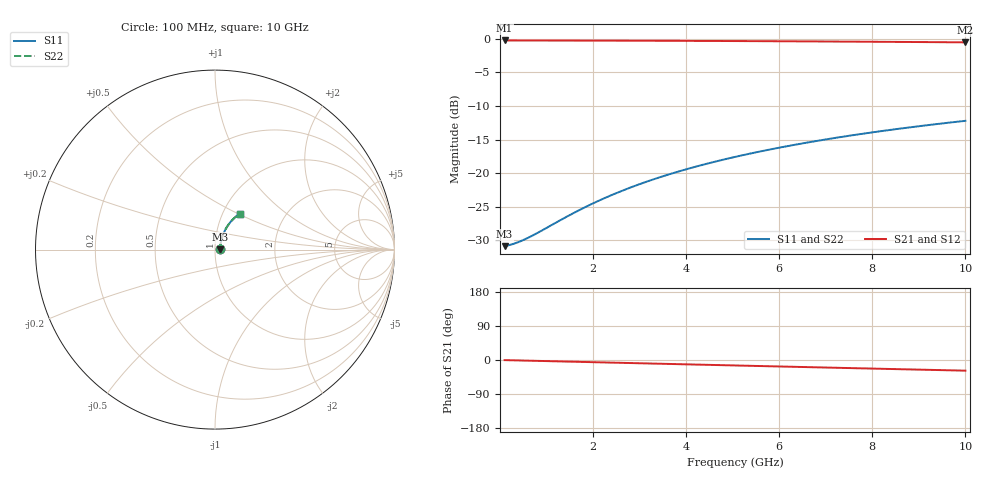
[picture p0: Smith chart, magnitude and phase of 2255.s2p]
# Hz S RI R 50.00
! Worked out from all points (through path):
!   100 points, 100 MHz to 10 GHz, reference 50 ohm
!   highest |S21| = -0.25 dB at 100 MHz (marker M1); lowest = -0.5 dB at 10 GHz (marker M2)
!   group delay of S21, straight-line fit = 7.82 ps
!   lowest |S11| = -30.9 dB at 100 MHz (marker M3), VSWR 1.06, Z = 52.9 + j0.26 ohm
!   |S11| at or under -10 dB: start of sweep to end of sweep
!   |S22| runs from -30.9 to -12.2 dB; largest |S21 - S12| = 0
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1e8  0.0285 0.00245  0.9715 -0.00487  0.9715 -0.00487  0.0285 0.00245
2e8  0.0288 0.0049  0.9712 -0.00974  0.9712 -0.00974  0.0288 0.0049
3e8  0.0289 0.00735  0.971 -0.0146  0.971 -0.0146  0.0289 0.00735
4e8  0.0291 0.00979  0.9708 -0.0195  0.9708 -0.0195  0.0291 0.00979
6e8  0.0296 0.0147  0.9703 -0.0292  0.9703 -0.0292  0.0296 0.0147
8e8  0.03 0.0195  0.9697 -0.0389  0.9697 -0.0389  0.03 0.0195
1.5e9  0.0324 0.0365  0.9669 -0.0728  0.9669 -0.0728  0.0324 0.0365
1.8e9  0.0337 0.0437  0.9653 -0.0872  0.9653 -0.0872  0.0337 0.0437
2.2e9  0.0358 0.0532  0.9627 -0.1064  0.9627 -0.1064  0.0358 0.0532
2.6e9  0.0383 0.0626  0.9597 -0.1255  0.9597 -0.1255  0.0383 0.0626
3e9  0.0411 0.0719  0.9562 -0.1445  0.9562 -0.1445  0.0411 0.0719
3.4e9  0.0443 0.0811  0.9522 -0.1633  0.9522 -0.1633  0.0443 0.0811
3.8e9  0.0478 0.0901  0.9479 -0.182  0.9479 -0.182  0.0478 0.0901
4.2e9  0.0517 0.099  0.943 -0.2006  0.943 -0.2006  0.0517 0.099
4.6e9  0.0559 0.1076  0.9377 -0.2189  0.9377 -0.2189  0.0559 0.1076
5.1e9  0.0616 0.1182  0.9306 -0.2416  0.9306 -0.2416  0.0616 0.1182
5.9e9  0.0718 0.1344  0.9177 -0.2771  0.9177 -0.2771  0.0718 0.1344
6.7e9  0.0832 0.1497  0.9033 -0.3118  0.9033 -0.3118  0.0832 0.1497
7.5e9  0.0956 0.1639  0.8874 -0.3454  0.8874 -0.3454  0.0956 0.1639
8.4e9  0.1108 0.1786  0.8679 -0.3819  0.8679 -0.3819  0.1108 0.1786
9.2e9  0.1252 0.1904  0.8492 -0.4131  0.8492 -0.4131  0.1252 0.1904
1e10  0.1403 0.201  0.8294 -0.443  0.8294 -0.443  0.1403 0.201
